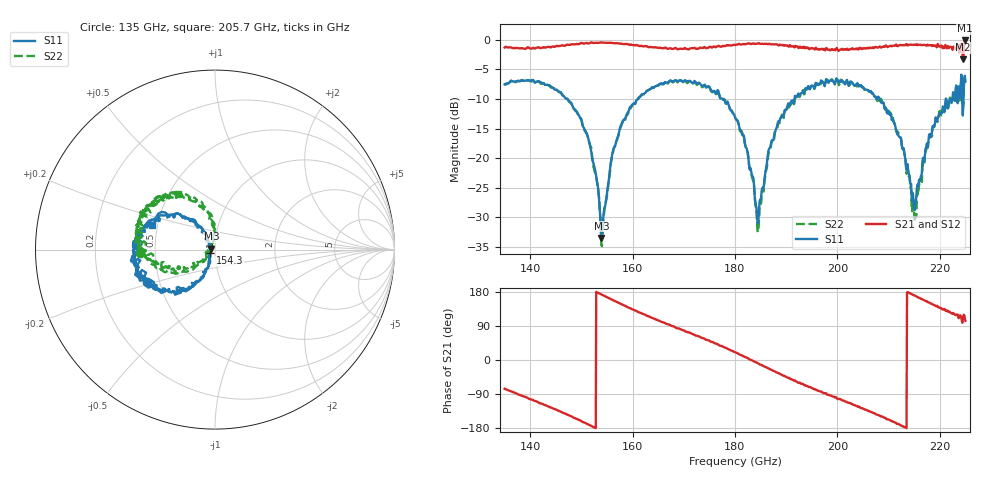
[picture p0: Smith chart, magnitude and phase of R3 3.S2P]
! Python used to change reference impedance from 50 to 1.
# Hz S RI R 1
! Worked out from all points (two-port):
!   901 points, 135 GHz to 225 GHz, reference 1 ohm
!   highest |S21| = -0.12 dB at 224.9 GHz (marker M1); lowest = -3.3 dB at 224.5 GHz (marker M2)
!   |S21| within 3 dB of the highest: start of sweep to 224.5 GHz; 224.6042 GHz to end of sweep
!   lowest |S11| = -33.5 dB at 153.9 GHz (marker M3), VSWR 1.04, Z = 0.96 + j0.0109 ohm
!   |S11| at or under -10 dB: 147.3 GHz to 161 GHz (13.7 GHz wide, 8.89 % of centre); 177.8 GHz to 191.6 GHz (13.82 GHz wide, 7.48 % of centre); 208.2 GHz to 221.2 GHz (12.95 GHz wide, 6.03 % of centre)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
!   |S22| runs from -34.9 to -6.5 dB; largest |S21 - S12| = 0.12
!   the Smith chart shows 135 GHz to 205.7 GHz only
!   S11 on the Smith chart (normalised r, x): 135 GHz: 0.43, -0.19; 154.3 GHz: 0.95, -0.04; 205.7 GHz: 0.47, +0.15
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1.35e11  -0.3796 -0.1792  0.2093 -0.8345  0.2173 -0.8317  -0.4177 -0.0211
1.433e11  -0.3976 0.1242  -0.447 -0.7423  -0.4357 -0.7481  -0.3127 0.268
1.5e11  -0.1249 0.1697  -0.89 -0.299  -0.8807 -0.311  -0.0375 0.2055
1.518e11  -0.0623 0.1024  -0.9365 -0.1188  -0.9342 -0.1332  -0.0102 0.1235
1.539e11  -0.0205 0.00566  -0.9434 0.1155  -0.9442 0.106  -0.0134 0.0128
1.543e11  -0.0269 -0.0194  -0.9307 0.1574  -0.932 0.148  -0.0286 -0.00631
1.56e11  -0.039 -0.0995  -0.8752 0.3383  -0.8791 0.3274  -0.0738 -0.0735
1.579e11  -0.0898 -0.1746  -0.7728 0.509  -0.7781 0.5026  -0.152 -0.1207
1.65e11  -0.368 -0.1884  -0.2103 0.8263  -0.2185 0.8245  -0.4097 -0.000415
1.735e11  -0.3943 0.1098  0.4445 0.7276  0.4418 0.7292  -0.2844 0.2822
1.8e11  -0.1447 0.1681  0.8444 0.3185  0.8455 0.3154  -0.0401 0.2208
1.844e11  -0.028 0.00213  0.9213 -0.1271  0.9206 -0.1271  -0.0182 0.0162
1.882e11  -0.0802 -0.1659  0.7611 -0.5033  0.762 -0.501  -0.1479 -0.0972
1.95e11  -0.3578 -0.1991  0.2339 -0.8182  0.2438 -0.8153  -0.4071 0.0143
2.057e11  -0.3501 0.1395  -0.5677 -0.6256  -0.5649 -0.6288  -0.2061 0.3071
2.1e11  -0.1779 0.1674  -0.8098 -0.3402  -0.8109 -0.3377  -0.0655 0.2427
2.127e11  -0.0788 0.0901  -0.8938 -0.0899  -0.8942 -0.0825  -0.00878 0.12
2.15e11  -0.0369 0.00297  -0.8962 0.1498  -0.8942 0.1573  -0.0221 0.0253
2.19e11  -0.089 -0.1686  -0.7262 0.5188  -0.7244 0.5204  -0.1646 -0.0883
2.245e11  -0.1773 -0.1452  -0.2116 0.6514  -0.1744 0.6623  -0.2563 0.0207
2.249e11  -0.4118 -0.2775  -0.3139 0.935  -0.27 0.9488  -0.466 0.0249
2.25e11  -0.4098 -0.1682  -0.2137 0.9026  -0.1863 0.9085  -0.4362 0.1005
